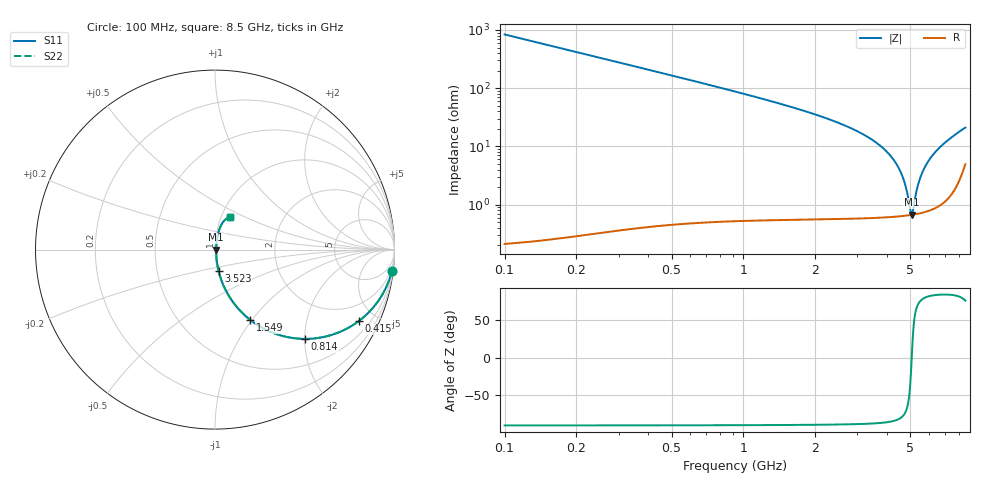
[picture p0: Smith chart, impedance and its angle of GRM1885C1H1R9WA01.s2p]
!Murata Part Number: GRM1885C1H1R9WA01
!These Parameters are Measured in Series Mode Connection
!Data Generated on Mar 30, 2021
!  o--ll--o
!Port1  Port2
!  o------o
!Operation Temp=25[degC], DC Bias Voltage=0[V]
!Freq. Start=100[MHz] Stop=9[GHz] 401[Steps]
# Hz S RI R 50
!Freq.(Hz) S11(Real) S11(Imag) S21(Real) S21(Imag) S12(Real) S12(Imag) S22(Real) S22(Imag)
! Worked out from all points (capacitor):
!   401 points, 100 MHz to 8.5 GHz, reference 50 ohm
!   read as one part in series: C = 1.9 pF near 142 MHz
!   lowest |Z| = 672 mohm at 5.056 GHz (marker M1)
!   series resonance near 5.065 GHz, so ESL is about 520 pH
!   S11 on the Smith chart (normalised r, x): 100 MHz: 1, -17; 415 MHz: 1.01, -4.01; 814 MHz: 1.01, -2.00; 1.549 GHz: 1.01, -0.98; 3.523 GHz: 1.01, -0.25; 8.5 GHz: 1.10, +0.41
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1e8  0.9859 -0.1178  0.0141 0.1178  0.0141 0.1178  0.9859 -0.1178
2.47e8  0.9194 -0.2718  0.0806 0.2718  0.0806 0.2718  0.9194 -0.2718
4.15e8  0.8 -0.3989  0.2 0.3989  0.2 0.3989  0.8 -0.3989
6.04e8  0.6506 -0.475  0.3494 0.475  0.3494 0.475  0.6506 -0.475
8.14e8  0.5009 -0.4975  0.4991 0.4975  0.4991 0.4975  0.5009 -0.4975
1.129e9  0.3331 -0.4675  0.6669 0.4675  0.6669 0.4675  0.3331 -0.4675
1.507e9  0.2069 -0.3997  0.7931 0.3997  0.7931 0.3997  0.2069 -0.3997
1.549e9  0.1965 -0.3918  0.8035 0.3918  0.8035 0.3918  0.1965 -0.3918
2.116e9  0.1009 -0.2927  0.8991 0.2927  0.8991 0.2927  0.1009 -0.2927
2.914e9  0.0411 -0.1843  0.9589 0.1843  0.9589 0.1843  0.0411 -0.1843
3.523e9  0.0207 -0.1205  0.9793 0.1205  0.9793 0.1205  0.0207 -0.1205
4.3e9  0.00915 -0.0544  0.9908 0.0544  0.9908 0.0544  0.00915 -0.0544
4.531e9  0.00767 -0.037  0.9923 0.037  0.9923 0.037  0.00767 -0.037
4.72e9  0.00696 -0.0235  0.993 0.0235  0.993 0.0235  0.00696 -0.0235
5.056e9  0.00665 -0.000595  0.9934 0.000595  0.9934 0.000595  0.00665 -0.000595
5.119e9  0.00671 0.00354  0.9933 -0.00354  0.9933 -0.00354  0.00671 0.00354
5.266e9  0.00701 0.013  0.993 -0.013  0.993 -0.013  0.00701 0.013
5.392e9  0.00741 0.021  0.9926 -0.021  0.9926 -0.021  0.00741 0.021
5.707e9  0.00899 0.0402  0.991 -0.0402  0.991 -0.0402  0.00899 0.0402
6.274e9  0.0138 0.073  0.9862 -0.073  0.9862 -0.073  0.0138 0.073
7.114e9  0.0264 0.1186  0.9736 -0.1186  0.9736 -0.1186  0.0264 0.1186
8.5e9  0.0822 0.1789  0.9178 -0.1789  0.9178 -0.1789  0.0822 0.1789
